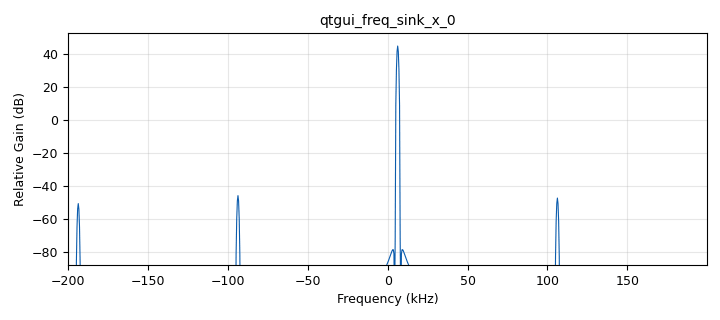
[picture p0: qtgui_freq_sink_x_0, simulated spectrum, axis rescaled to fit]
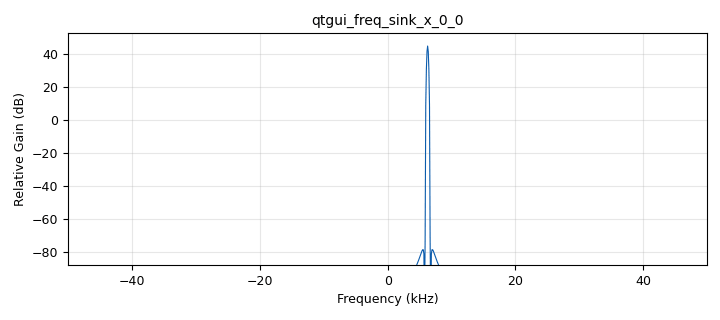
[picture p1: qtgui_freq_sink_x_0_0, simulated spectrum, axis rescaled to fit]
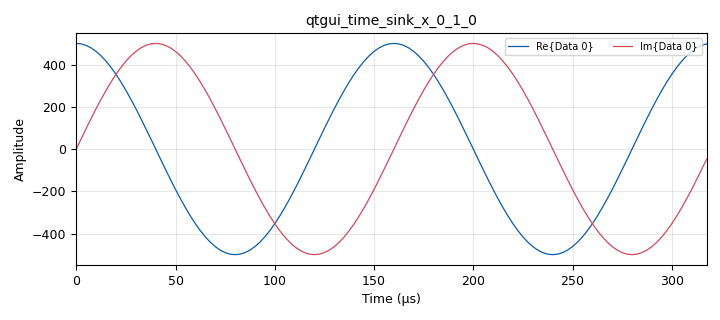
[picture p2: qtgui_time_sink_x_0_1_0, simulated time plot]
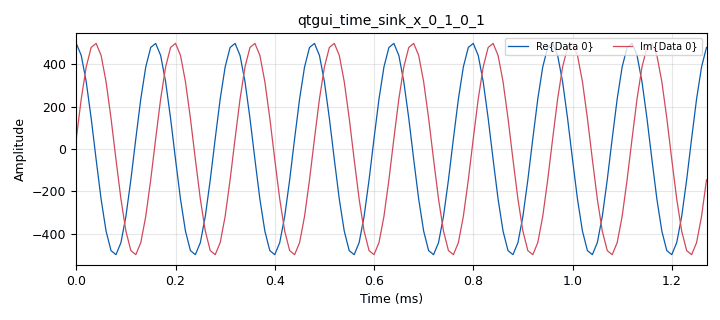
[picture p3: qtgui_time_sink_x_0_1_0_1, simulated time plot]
options:
  parameters:
    author: user
    generate_options: qt_gui
    id: chanmod
    output_language: python
    title: Not titled yet
  states: {}

blocks:
- name: interp_rate
  id: variable
  parameters:
    value: '4'
  states: {}
- name: samp_rate
  id: variable
  parameters:
    value: '100000'
  states: {}
- name: sp
  id: variable_qtgui_range
  parameters:
    start: '0'
    step: '1'
    stop: '1000000'
    value: '400000'
  states: {}
- name: analog_sig_source_x_0
  id: analog_sig_source_x
  parameters:
    amp: '500'
    freq: '6250'
    offset: '0'
    phase: '0'
    samp_rate: samp_rate
    type: complex
    waveform: analog.GR_SIN_WAVE
  states: {}
- name: blocks_throttle2_0
  id: blocks_throttle2
  parameters:
    samples_per_second: samp_rate
    type: complex
  states: {}
- name: channels_channel_model_0
  id: channels_channel_model
  parameters:
    epsilon: '1.0'
    freq_offset: '0.0'
    noise_voltage: '0.0'
    seed: '0'
    taps: '[0, 0, 1.0]'
  states: {}
- name: interp_fir_filter_xxx_0
  id: interp_fir_filter_xxx
  parameters:
    interp: '1'
    taps: '1.0'
    type: ccc
  states: {state: disabled}
- name: low_pass_filter_0
  id: low_pass_filter
  parameters:
    cutoff_freq: samp_rate/4
    decim: interp_rate
    gain: '1'
    samp_rate: samp_rate
    type: fir_filter_ccf
    width: '200'
    win: window.WIN_HAMMING
  states: {state: disabled}
- name: qtgui_freq_sink_x_0
  id: qtgui_freq_sink_x
  parameters:
    bw: sp
    fc: '0'
    fftsize: '1024'
    type: complex
  states: {}
- name: qtgui_freq_sink_x_0_0
  id: qtgui_freq_sink_x
  parameters:
    bw: samp_rate
    fc: '0'
    fftsize: '1024'
    type: complex
  states: {}
- name: qtgui_time_sink_x_0_0
  id: qtgui_time_sink_x
  parameters:
    autoscale: 'True'
    ctrlpanel: 'True'
    grid: 'True'
    size: '128'
    srate: samp_rate
    type: complex
  states: {state: disabled}
- name: qtgui_time_sink_x_0_1_0
  id: qtgui_time_sink_x
  parameters:
    autoscale: 'True'
    ctrlpanel: 'True'
    grid: 'True'
    size: '128'
    srate: sp
    type: complex
  states: {}
- name: qtgui_time_sink_x_0_1_0_0
  id: qtgui_time_sink_x
  parameters:
    autoscale: 'True'
    ctrlpanel: 'True'
    grid: 'True'
    size: '128'
    srate: samp_rate
    type: complex
  states: {state: disabled}
- name: qtgui_time_sink_x_0_1_0_1
  id: qtgui_time_sink_x
  parameters:
    autoscale: 'True'
    ctrlpanel: 'True'
    grid: 'True'
    size: '128'
    srate: samp_rate
    type: complex
  states: {}
- name: qtgui_time_sink_x_0_1_0_1_0
  id: qtgui_time_sink_x
  parameters:
    autoscale: 'True'
    ctrlpanel: 'True'
    grid: 'True'
    size: '128'
    srate: samp_rate
    type: complex
  states: {state: disabled}
- name: rational_resampler_xxx_0
  id: rational_resampler_xxx
  parameters:
    decim: '1'
    interp: interp_rate
    type: ccc
  states: {}
- name: rational_resampler_xxx_1
  id: rational_resampler_xxx
  parameters:
    decim: interp_rate
    interp: '1'
    type: ccc
  states: {}

connections:
- [analog_sig_source_x_0, '0', blocks_throttle2_0, '0']
- [blocks_throttle2_0, '0', qtgui_time_sink_x_0_0, '0']
- [blocks_throttle2_0, '0', rational_resampler_xxx_0, '0']
- [channels_channel_model_0, '0', low_pass_filter_0, '0']
- [channels_channel_model_0, '0', qtgui_freq_sink_x_0, '0']
- [channels_channel_model_0, '0', qtgui_time_sink_x_0_1_0, '0']
- [channels_channel_model_0, '0', rational_resampler_xxx_1, '0']
- [interp_fir_filter_xxx_0, '0', qtgui_time_sink_x_0_1_0_0, '0']
- [low_pass_filter_0, '0', qtgui_time_sink_x_0_1_0_1_0, '0']
- [rational_resampler_xxx_0, '0', channels_channel_model_0, '0']
- [rational_resampler_xxx_0, '0', interp_fir_filter_xxx_0, '0']
- [rational_resampler_xxx_1, '0', qtgui_freq_sink_x_0_0, '0']
- [rational_resampler_xxx_1, '0', qtgui_time_sink_x_0_1_0_1, '0']

metadata:
  file_format: 1
  grc_version: 3.10.7.0
